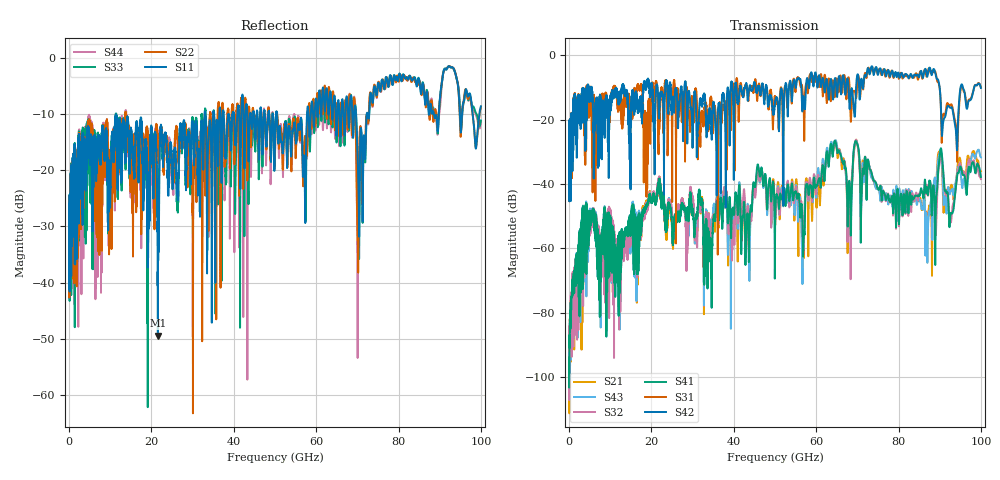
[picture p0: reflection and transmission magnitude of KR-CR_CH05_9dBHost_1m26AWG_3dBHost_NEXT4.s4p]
# GHz S MA R 50.00
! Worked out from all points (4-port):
!   10000 points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, 10 MHz to 100 GHz, reference 50 ohm
!   strongest paths, dB at 10 MHz, 25.01 GHz, 50.01 GHz, 75.01 GHz, 100 GHz:
!     S42: -28.5, -16.1, -14.7, -6.1, -10.2
!     S31: -28.5, -28.8, -12.7, -5.7, -10.0
!     S41: -94.0, -52.7, -56.7, -41.6, -37.8
!     S32: -96.3, -49.2, -51.4, -41.6, -38.5
!     S43: -101.0, -49.6, -48.3, -41.2, -31.7
!     S21: -105.1, -52.2, -51.9, -41.4, -36.0
!   lowest |S11| = -49.5 dB at 21.56 GHz (marker M1), VSWR 1.01, Z = 49.9 - j0.308 ohm
!   |S11| at or under -10 dB: start of sweep to 32.92 GHz; 50.45 GHz to 57.77 GHz (7.321 GHz wide, 13.5 % of centre); 69.67 GHz to 72.27 GHz (2.607 GHz wide, 3.67 % of centre)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
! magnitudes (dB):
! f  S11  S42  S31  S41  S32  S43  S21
! 10 MHz  -24.5  -28.5  -28.5  -94.0  -96.3  -101.0  -105.1
! 5.42 GHz  -16.4  -10.8  -15.1  -50.4  -50.3  -50.8  -50.4
! 21.56 GHz  -49.5  -11.2  -19.0  -42.2  -42.2  -42.3  -42.5
! 56.71 GHz  -18.9  -15.8  -11.5  -54.4  -54.4  -68.6  -65.8
! 69.73 GHz  -10.9  -9.3  -13.4  -26.8  -26.4  -26.5  -26.3
! 86.94 GHz  -6.1  -6.7  -6.3  -41.4  -40.5  -58.1  -55.9
! 100 GHz  -8.6  -10.2  -10.0  -37.8  -38.5  -31.7  -36.0
